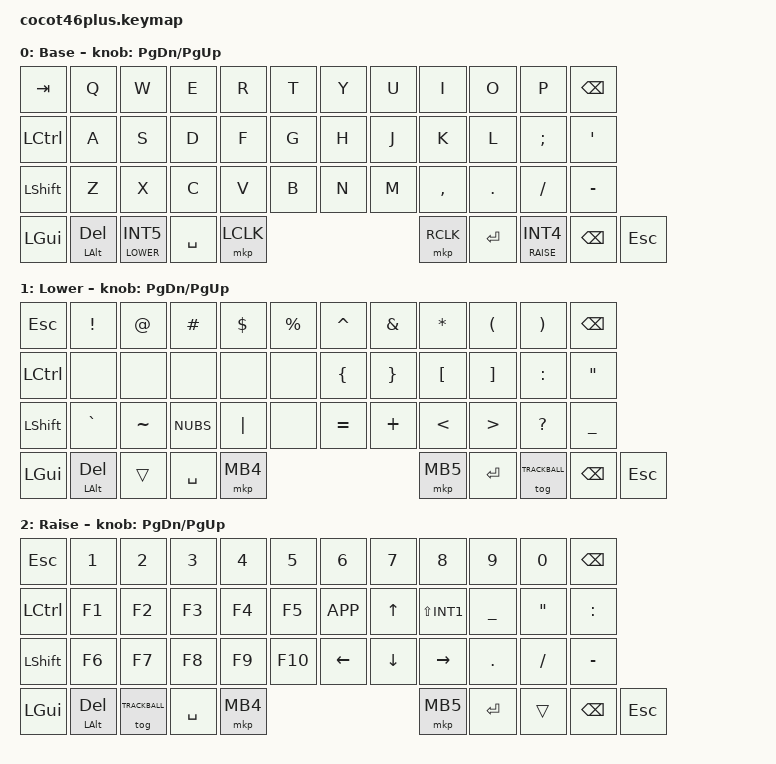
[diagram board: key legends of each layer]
#include <behaviors.dtsi>
#include <dt-bindings/zmk/keys.h>
#include <dt-bindings/zmk/pointing.h>
#include <dt-bindings/zmk/rgb.h>

#define BASE      0
#define LOWER     1
#define RAISE     2
#define TRACKBALL 3

/ {
    sensors {
        compatible = "zmk,keymap-sensors";
        sensors = <&encoder_0>;
    };

    keymap {
        compatible = "zmk,keymap";

        base_layer {
            display-name = "Base";
            bindings = <
            /*  left                                                              right                                    */
                &kp TAB    &kp Q   &kp W   &kp E   &kp R    &kp T     &kp Y     &kp U     &kp I      &kp O    &kp P     &kp BSPC
                &kp LCTRL  &kp A   &kp S   &kp D   &kp F    &kp G     &kp H     &kp J     &kp K      &kp L    &kp SEMI  &kp SQT
                &kp LSHFT  &kp Z   &kp X   &kp C   &kp V    &kp B     &kp N     &kp M     &kp COMMA  &kp DOT  &kp FSLH  &kp MINUS
                &kp LGUI   &mt LALT DEL     &lt LOWER INT5   &kp SPACE &mkp LCLK &mkp RCLK &kp ENTER  &lt RAISE INT4     &kp BSPC  &kp ESC
            >;
            sensor-bindings = <&inc_dec_kp PG_DN PG_UP>;
        };

        lower_layer {
            display-name = "Lower";
            bindings = <
                &kp ESC    &kp EXCL &kp AT    &kp HASH &kp DLLR  &kp PRCNT  &kp CARET &kp AMPS   &kp ASTRK &kp LPAR   &kp RPAR  &kp BSPC
                &kp LCTRL  &none    &none     &none    &none     &none      &kp LBRC  &kp RBRC   &kp LBKT  &kp RBKT   &kp COLON &kp DQT
                &kp LSHFT  &kp GRAVE &kp TILDE &kp NUBS &kp PIPE &none      &kp EQL   &kp PLUS   &kp LT    &kp GT     &kp QMARK &kp UNDER
                &kp LGUI   &mt LALT DEL      &trans      &kp SPACE &mkp MB4  &mkp MB5  &kp ENTER  &tog TRACKBALL &kp BSPC &kp ESC
            >;
            sensor-bindings = <&inc_dec_kp PG_DN PG_UP>;
        };

        raise_layer {
            display-name = "Raise";
            bindings = <
                &kp ESC    &kp N1   &kp N2    &kp N3   &kp N4    &kp N5     &kp N6    &kp N7     &kp N8     &kp N9    &kp N0    &kp BSPC
                &kp LCTRL  &kp F1   &kp F2    &kp F3   &kp F4    &kp F5     &kp K_APP &kp UP     &kp LS(INT1) &kp UNDER &kp DQT &kp COLON
                &kp LSHFT  &kp F6   &kp F7    &kp F8   &kp F9    &kp F10    &kp LEFT  &kp DOWN   &kp RIGHT  &kp DOT   &kp FSLH  &kp MINUS
                &kp LGUI   &mt LALT DEL      &tog TRACKBALL &kp SPACE &mkp MB4 &mkp MB5  &kp ENTER  &trans     &kp BSPC  &kp ESC
            >;
            sensor-bindings = <&inc_dec_kp PG_DN PG_UP>;
        };
    };
};
